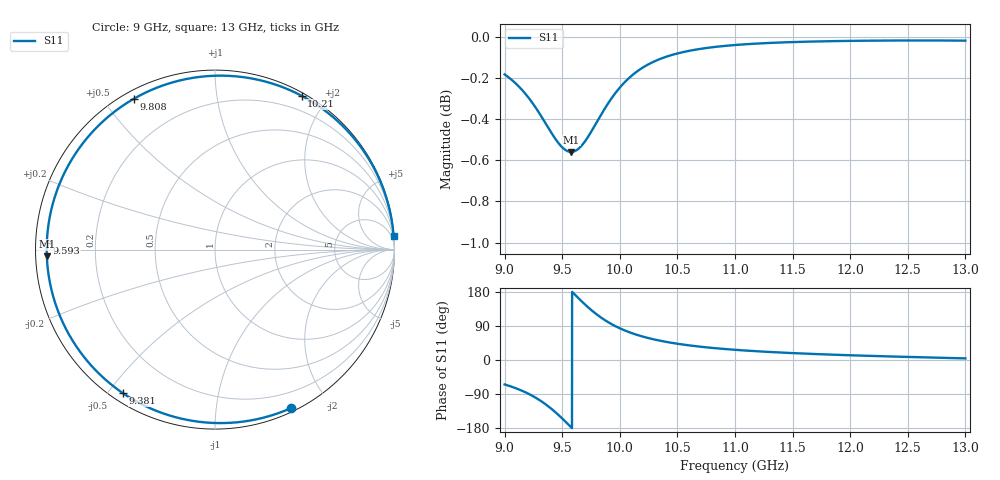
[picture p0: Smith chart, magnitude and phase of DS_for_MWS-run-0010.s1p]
! TOUCHSTONE file generated by CST DESIGN STUDIO
! Date and time: Wed Feb  5 13:20:51 2025
! Project name: C:\Work\MatlabApps\UnitCellOptimizationMatlab\CST\unitcell.cst
! Tree item: Tasks\Sweep1\SPara1\S-Parameters
! Header version: 2024
! Port assignment regex: !\s*Touchstone port\s*([0-9]+)\s*=\s*(CST MWS port|CST DES external port|CST DES block port)\s*(.+)\s* \(\"(.*)\"\)(\s*mode\s*([0-9]+))?.*
! Touchstone port assignment:
! Touchstone port 1 = CST DES external port 1 ("")
# GHz S MA R 50
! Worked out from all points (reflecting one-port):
!   4001 points, 9 GHz to 13 GHz, reference 50 ohm
!   lowest |S11| = -0.6 dB at 9.578 GHz (marker M1), VSWR 31.09, Z = 1.61 - j0.988 ohm
!   phase of S11 starts at -64 deg and turns -291 deg over the sweep
!   S11 on the Smith chart (normalised r, x): 9 GHz: 0.04, -1.58; 9.381 GHz: 0.03, -0.55; 9.593 GHz: 0.03, +0.02; 9.808 GHz: 0.03, +0.60; 10.21 GHz: 0.03, +1.71; 13 GHz: 1, +27
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9  0.9792 -64.5
9.047  0.977 -69.0
9.115  0.9732 -76.6
9.232  0.9646 -93.0
9.311  0.9573 -107.4
9.381  0.9502 -122.7
9.44  0.9446 -137.5
9.5  0.9401 -154.3
9.54  0.9383 -166.2
9.578  0.9377 -177.7
9.593  0.9378 177.7
9.648  0.9397 161.0
9.708  0.9441 143.7
9.758  0.949 130.4
9.808  0.9543 118.4
9.85  0.9587 109.3
9.895  0.9632 100.5
10  0.972 83.7
10.102  0.9785 71.1
10.213  0.9835 60.7
10.345  0.9876 51.2
10.5  0.9908 42.9
10.72  0.9935 34.4
11  0.9955 26.9
11.5  0.9971 18.2
12  0.9978 12.5
12.5  0.998 8.1
13  0.9979 4.3
